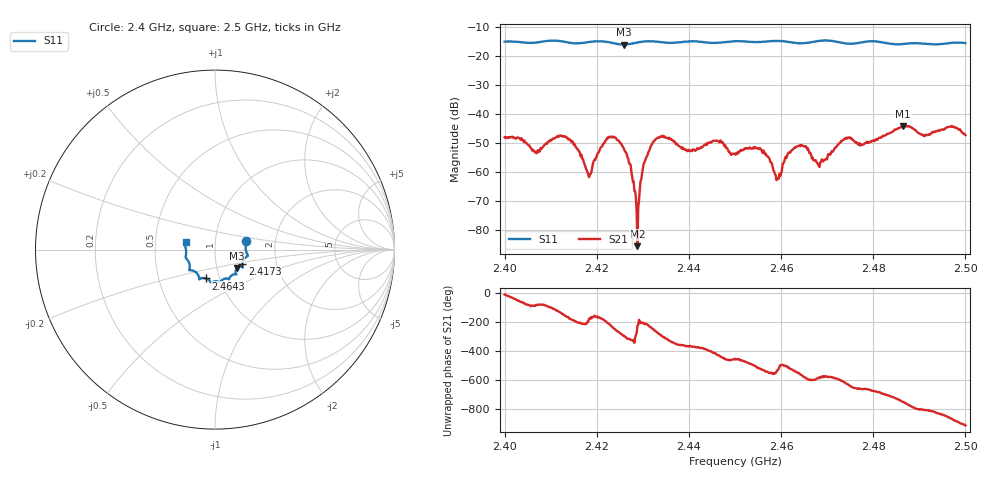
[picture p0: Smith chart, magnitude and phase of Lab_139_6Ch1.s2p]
# Hz S RI R 50
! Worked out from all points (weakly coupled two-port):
!   601 points, 2.4 GHz to 2.5 GHz, reference 50 ohm
!   highest |S21| = -43.98 dB at 2.4865 GHz (marker M1); lowest = -85.5 dB at 2.4288 GHz (marker M2)
!   lowest |S11| = -15.9 dB at 2.4258 GHz (marker M3), VSWR 1.38, Z = 62.3 - j13.3 ohm
!   |S11| at or under -10 dB: start of sweep to end of sweep
!   S12 and S22 are empty: the file has one direction only
!   S11 on the Smith chart (normalised r, x): 2.4 GHz: 1.41, +0.14; 2.4173 GHz: 1.34, -0.22; 2.4643 GHz: 0.86, -0.28; 2.5 GHz: 0.72, +0.06
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2.4e9  0.1729 0.0487  0.00393 -0.000863  0 0  0 0
2.406833e9  0.173 -0.00838  0.000189 -0.00214  0 0  0 0
2.412667e9  0.1762 -0.0401  -0.00349 -0.00234  0 0  0 0
2.416667e9  0.1525 -0.0742  -0.00172 0.00104  0 0  0 0
2.417333e9  0.1518 -0.0816  -0.00115 0.000783  0 0  0 0
2.4185e9  0.1524 -0.092  -0.000911 -5.01e-05  0 0  0 0
2.422667e9  0.1479 -0.0944  -0.0033 0.00222  0 0  0 0
2.425833e9  0.1219 -0.1037  0.001 0.00239  0 0  0 0
2.428833e9  0.115 -0.1303  -3.78e-05 3.72e-05  0 0  0 0
2.4305e9  0.1179 -0.1377  -0.0013 0.000897  0 0  0 0
2.433333e9  0.113 -0.1371  0.000521 0.00396  0 0  0 0
2.440167e9  0.0789 -0.164  0.00237 -0.000169  0 0  0 0
2.4465e9  0.0439 -0.1665  0.00117 -0.00314  0 0  0 0
2.45e9  0.029 -0.1809  -7.88e-05 -0.0021  0 0  0 0
2.455333e9  -0.00099 -0.1769  -0.00242 -0.000899  0 0  0 0
2.459333e9  -0.0232 -0.1836  -0.000784 -0.00016  0 0  0 0
2.461333e9  -0.0275 -0.1766  -0.00162 -0.00113  0 0  0 0
2.464333e9  -0.0499 -0.1606  -0.00274 0.00112  0 0  0 0
2.466667e9  -0.0759 -0.1593  -0.000893 0.0015  0 0  0 0
2.483333e9  -0.1408 -0.09  0.00448 0.00118  0 0  0 0
2.4865e9  -0.1527 -0.059  0.00553 -0.00306  0 0  0 0
2.5e9  -0.164 0.0429  -0.00432 0.000743  0 0  0 0
